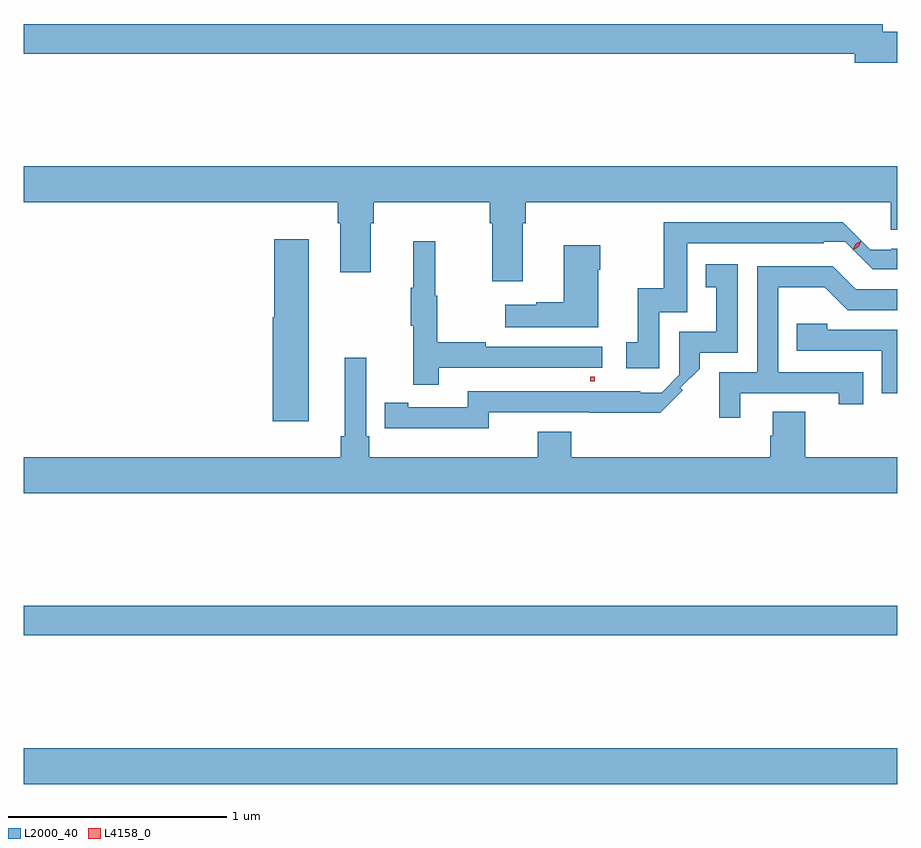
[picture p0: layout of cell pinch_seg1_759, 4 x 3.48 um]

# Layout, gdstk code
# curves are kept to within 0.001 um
import gdstk
lib = gdstk.Library(unit=1e-6, precision=1e-09)
def R(c, l, rs):  # rectangles x0, y0, x1, y1
    for r in rs: c.add(gdstk.rectangle(r[:2], r[2:], *l))
def P(c, l, *ps):  # polygons
    for p in ps: c.add(gdstk.Polygon(p, *l))
L2000_40 = (2000, 40)
L4158_0 = (4158, 0)

pinch_seg1_759 = lib.new_cell('pinch_seg1_759')
R(pinch_seg1_759, L2000_40, [(840.193,513.104,844.193,513.268), (840.193,513.784,844.193,513.92)])
P(pinch_seg1_759, L2000_40, [(844.193,516.548),(844.126,516.548),(844.126,516.584),(840.193,516.584),(840.193,516.448),(843.998,516.448),(843.998,516.406),(844.193,516.406)],
  [(842.479,515.672),(842.492,515.672),(842.492,515.768),(844.163,515.768),(844.163,515.641),(844.193,515.641),(844.193,515.932),(840.193,515.932),(840.193,515.768),(841.631,515.768),(841.631,515.672),(841.643,515.672),(841.643,515.448),(841.783,515.448),(841.783,515.672),(841.796,515.672),(841.796,515.768),(842.327,515.768),(842.327,515.672),(842.339,515.672),(842.339,515.406),(842.479,515.406)],
  [(843.102,515.265),(843.231,515.265),(843.231,515.58),(843.857,515.58),(843.857,515.586),(843.954,515.586),(844.08,515.46),(844.193,515.46),(844.193,515.556),(844.166,515.556),(844.166,515.55),(844.069,515.55),(843.943,515.676),(843.123,515.676),(843.123,515.374),(843.005,515.374),(843.005,515.127),(842.952,515.127),(842.952,515.007),(843.102,515.007)],
  [(841.498,515.599),(841.34,515.599),(841.34,515.241),(841.334,515.241),(841.334,514.764),(841.498,514.764)],
  [(842.093,515.01),(842.842,515.01),(842.842,515.106),(842.309,515.106),(842.309,515.126),(842.086,515.126),(842.086,515.34),(842.078,515.34),(842.078,515.59),(841.976,515.59),(841.976,515.377),(841.965,515.377),(841.965,515.203),(841.976,515.203),(841.976,514.932),(842.093,514.932)],
  [(842.824,515.459),(842.832,515.459),(842.832,515.572),(842.666,515.572),(842.666,515.309),(842.54,515.309),(842.54,515.299),(842.397,515.299),(842.397,515.195),(842.824,515.195)],
  [(842.322,514.806),(843.107,514.805),(843.21,514.908),(843.2,514.918),(843.288,515.006),(843.288,515.079),(843.462,515.079),(843.462,515.485),(843.316,515.485),(843.316,515.379),(843.365,515.379),(843.365,515.175),(843.195,515.175),(843.195,514.977),(843.114,514.896),(843.017,514.896),(843.017,514.902),(842.226,514.902),(842.226,514.83),(841.954,514.83),(841.954,514.85),(841.846,514.85),(841.846,514.734),(842.322,514.733)],
  [(843.475,514.893),(843.926,514.893),(843.926,514.842),(844.037,514.842),(844.037,514.989),(843.648,514.989),(843.648,515.378),(843.862,515.378),(843.966,515.274),(844.193,515.274),(844.193,515.37),(844.003,515.37),(843.898,515.475),(843.552,515.475),(843.552,514.989),(843.378,514.989),(843.378,514.782),(843.475,514.782)],
  [(844.193,515.184),(843.873,515.184),(843.873,515.211),(843.733,515.211),(843.733,515.088),(844.122,515.088),(844.122,514.893),(844.193,514.893)],
  [(844.193,514.6),(843.771,514.6),(843.771,514.808),(843.623,514.808),(843.623,514.698),(843.611,514.698),(843.611,514.6),(842.699,514.6),(842.699,514.717),(842.546,514.717),(842.546,514.6),(841.775,514.6),(841.775,514.696),(841.761,514.696),(841.761,515.056),(841.664,515.056),(841.664,514.696),(841.645,514.696),(841.645,514.6),(840.193,514.6),(840.193,514.436),(844.193,514.436)])
R(pinch_seg1_759, L4158_0, [(842.787,514.948,842.807,514.968)])
P(pinch_seg1_759, L4158_0, [(843.99,515.547),(843.99,515.547),(844.001,515.576),(844.027,515.592),(844.028,515.592),(844.028,515.592),(844.016,515.563),(843.99,515.547)])

lib.write_gds('pinch_seg1_759.gds')
